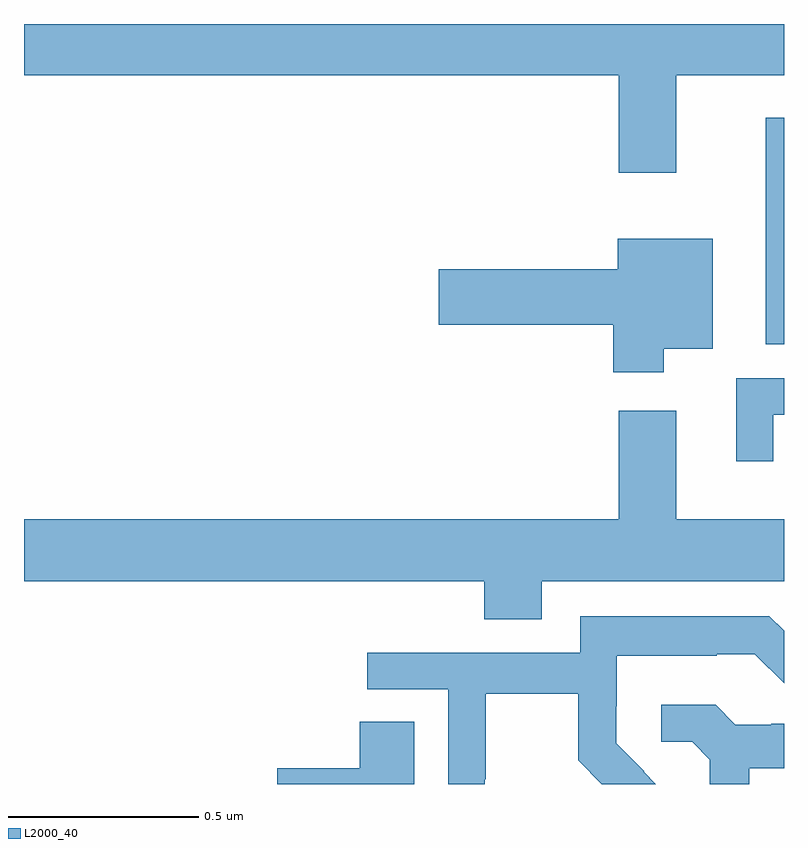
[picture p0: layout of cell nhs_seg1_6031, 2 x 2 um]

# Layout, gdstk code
import gdstk
lib = gdstk.Library(unit=1e-6, precision=1e-09)
def R(c, l, rs):  # rectangles x0, y0, x1, y1
    for r in rs: c.add(gdstk.rectangle(r[:2], r[2:], *l))
def P(c, l, *ps):  # polygons
    for p in ps: c.add(gdstk.Polygon(p, *l))
L2000_40 = (2000, 40)

nhs_seg1_6031 = lib.new_cell('nhs_seg1_6031')
R(nhs_seg1_6031, L2000_40, [(187.952,552.356,188,552.952)])
P(nhs_seg1_6031, L2000_40, [(187.717,553.064),(188,553.064),(188,553.199),(186,553.199),(186,553.064),(187.565,553.064),(187.565,552.807),(187.717,552.807)],
  [(187.684,552.344),(187.813,552.344),(187.813,552.634),(187.562,552.634),(187.562,552.554),(187.092,552.554),(187.092,552.407),(187.55,552.407),(187.55,552.282),(187.684,552.282)],
  [(187.972,552.171),(188,552.171),(188,552.267),(187.874,552.267),(187.874,552.048),(187.972,552.048)],
  [(187.363,551.732),(188,551.732),(188,551.896),(187.717,551.896),(187.717,552.181),(187.565,552.181),(187.565,551.896),(186,551.896),(186,551.732),(187.211,551.732),(187.211,551.633),(187.363,551.633)],
  [(187.212,551.212),(187.215,551.212),(187.215,551.436),(187.459,551.436),(187.459,551.261),(187.521,551.199),(187.663,551.199),(187.631,551.231),(187.632,551.232),(187.558,551.306),(187.558,551.403),(187.56,551.403),(187.56,551.537),(187.823,551.537),(187.823,551.541),(187.923,551.541),(188,551.464),(188,551.602),(187.961,551.641),(187.464,551.641),(187.464,551.544),(186.903,551.544),(186.903,551.448),(187.116,551.448),(187.116,551.199),(187.212,551.199)],
  [(187.909,551.24),(188,551.24),(188,551.358),(187.966,551.358),(187.966,551.355),(187.872,551.355),(187.82,551.407),(187.677,551.407),(187.677,551.31),(187.758,551.31),(187.805,551.263),(187.805,551.199),(187.909,551.199)],
  [(187.027,551.363),(186.884,551.363),(186.884,551.24),(186.666,551.24),(186.666,551.199),(187.027,551.199)])

lib.write_gds('nhs_seg1_6031.gds')
